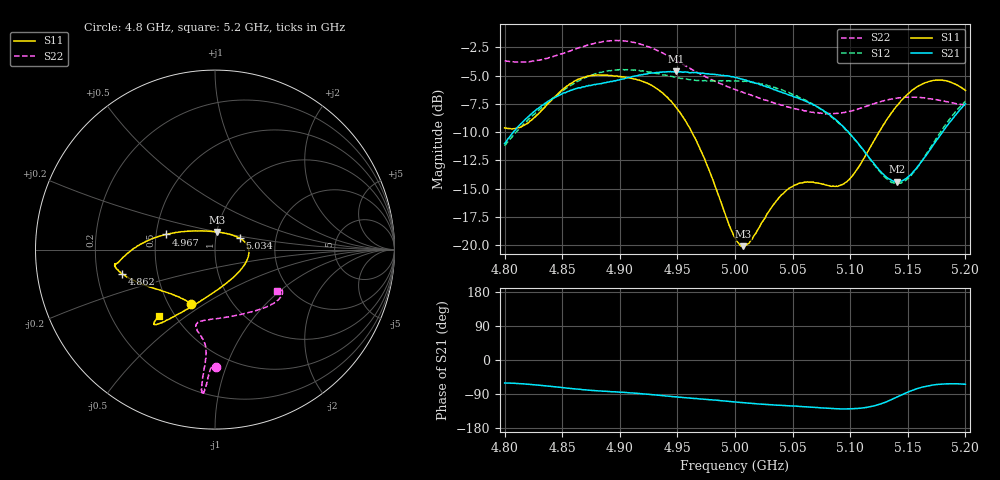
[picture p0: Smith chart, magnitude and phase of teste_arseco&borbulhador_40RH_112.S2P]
! Network Analyzer HP8722D
! Hewlett-Packard
! Data name: Linha & Wilkinson
! Saver's name: Rodrigo Anjos
! Comments: Teste da utilização de aquisição
! continua pelo VNA HP8722D
! Time and date: 15/4/2025 17:17
!  Frequency  S11  S21  S12  S22
# HZ  S  MA R 50
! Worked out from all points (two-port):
!   401 points, 4.8 GHz to 5.2 GHz, reference 50 ohm
!   highest |S21| = -4.63 dB at 4.949 GHz (marker M1); lowest = -14.4 dB at 5.141 GHz (marker M2)
!   |S21| within 3 dB of the highest: 4.833 GHz to 5.069 GHz (236.7 MHz wide, 4.78 % of centre); 5.198662 GHz to end of sweep
!   lowest |S11| = -20.1 dB at 5.007 GHz (marker M3), VSWR 1.22, Z = 50.1 + j9.93 ohm
!   |S11| at or under -10 dB: 4.962 GHz to 5.125 GHz (162.5 MHz wide, 3.22 % of centre)
!   |S22| runs from -8.4 to -1.9 dB; largest |S21 - S12| = 0.88
!   S11 on the Smith chart (normalised r, x): 4.8 GHz: 0.65, -0.44; 4.862 GHz: 0.31, -0.12; 4.967 GHz: 0.56, +0.10; 5.034 GHz: 1.31, +0.17; 5.2 GHz: 0.41, -0.40
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4.8e9  0.3303 -113.6  0.2809 -60.7  0.2748 -175.0  0.6542 -89.4
4.819e9  0.3441 -133.4  0.3645 -63.6  0.3519 -173.1  0.6488 -91.1
4.862e9  0.5356 -165.5  0.4935 -76.5  0.5278 -176.2  0.7391 -93.4
4.867e9  0.5492 -167.4  0.5001 -78.1  0.5425 -177.2  0.7543 -93.6
4.9e9  0.5578 -171.9  0.5392 -84.8  0.5988 176.1  0.8049 -95.0
4.934e9  0.4855 -177.8  0.5808 -93.2  0.5729 172.1  0.7195 -95.5
4.949e9  0.4062 175.2  0.5868 -97.2  0.5525 172.3  0.6573 -95.1
4.967e9  0.2855 162.8  0.5798 -101.8  0.535 174.1  0.5818 -94.8
5e9  0.1075 107.7  0.5526 -110.8  0.5332 176.5  0.4883 -99.2
5.007e9  0.09876 83.8  0.5409 -112.5  0.5298 176.6  0.474 -100.8
5.014e9  0.105 62.1  0.5285 -114.5  0.5265 176.3  0.4616 -102.5
5.034e9  0.1521 24.5  0.4874 -118.8  0.4995 175.3  0.4252 -104.0
5.049e9  0.1806 8.6  0.4581 -121.3  0.4669 174.6  0.4044 -100.7
5.067e9  0.1897 -11.0  0.4218 -124.6  0.423 174.1  0.3871 -92.1
5.087e9  0.1817 -43.4  0.3604 -128.5  0.3585 174.1  0.3827 -77.0
5.097e9  0.1904 -64.6  0.3219 -129.0  0.3212 174.4  0.3884 -68.6
5.134e9  0.3723 -115.9  0.1956 -107.1  0.192 -159.8  0.4413 -43.3
5.141e9  0.4162 -119.8  0.1906 -97.2  0.1869 -148.8  0.4473 -40.2
5.152e9  0.4757 -124.3  0.2037 -82.3  0.2007 -131.5  0.4514 -36.2
5.17e9  0.5327 -128.4  0.2669 -66.9  0.2719 -112.9  0.444 -32.0
5.184e9  0.5322 -129.7  0.3372 -63.0  0.3483 -107.1  0.4313 -31.0
5.2e9  0.4831 -130.2  0.422 -63.9  0.4337 -105.9  0.4155 -33.3
